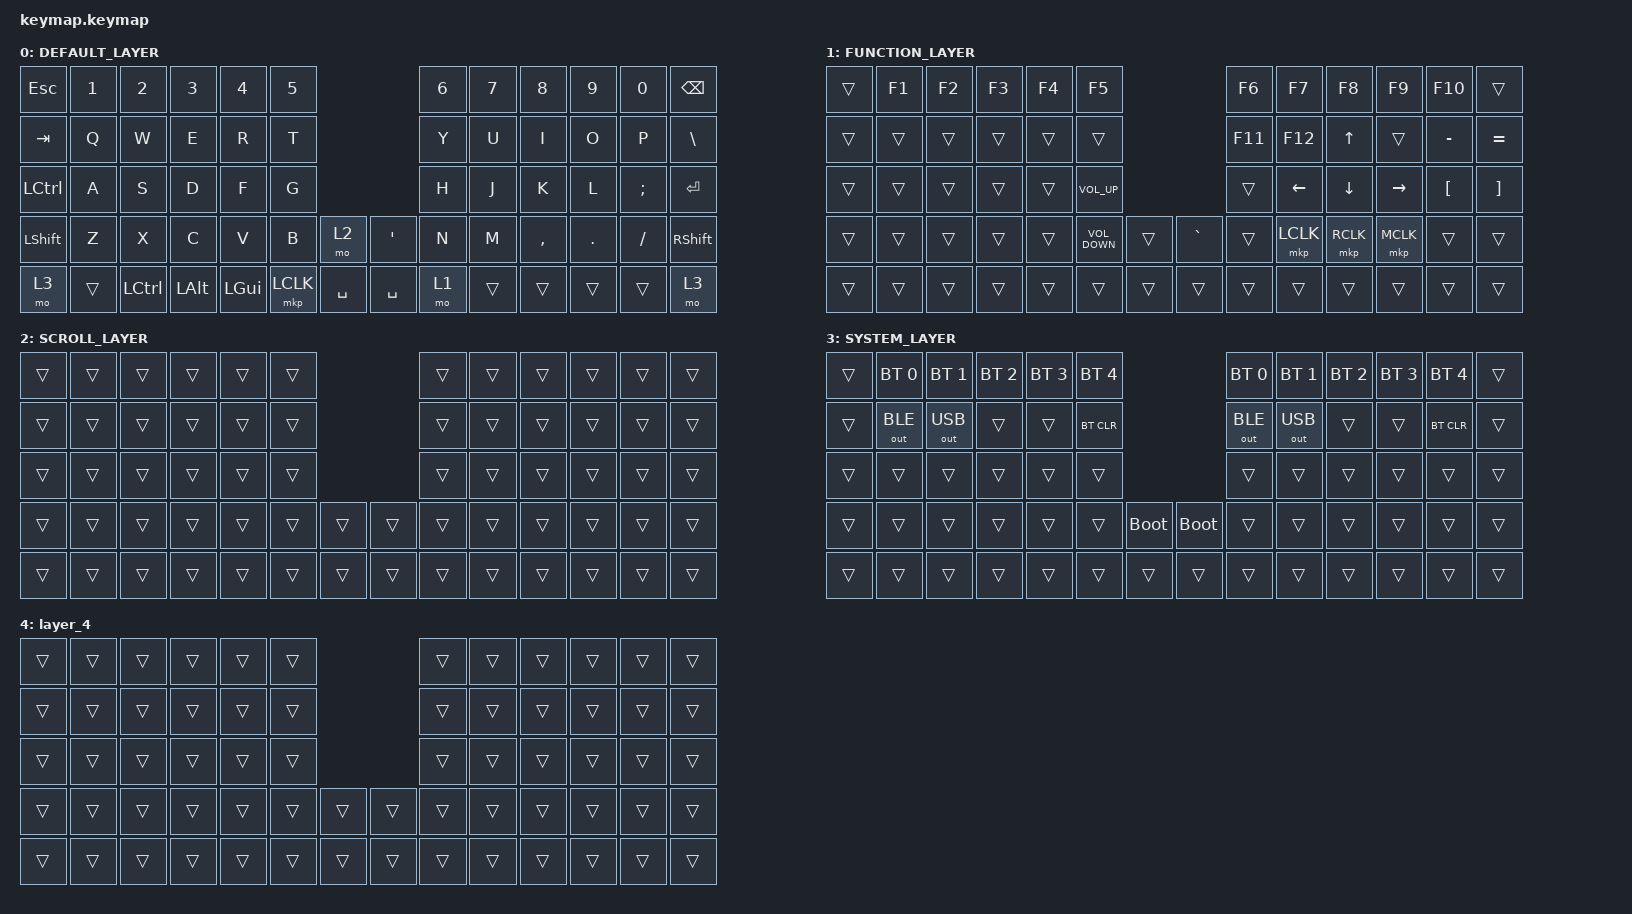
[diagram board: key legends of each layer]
#include <behaviors.dtsi>
#include <dt-bindings/zmk/bt.h>
#include <dt-bindings/zmk/keys.h>
#include <dt-bindings/zmk/outputs.h>
#include <dt-bindings/zmk/pointing.h>

/ {
    combos {
        compatible = "zmk,combos";

        mouse_prev {
            bindings = <&mkp MB4>;
            key-positions = <43 44 45>;
        };

        mouse_next {
            bindings = <&mkp MB5>;
            key-positions = <44 45 46>;
        };

        mouse_scroll {
            bindings = <&mo 2>;
            key-positions = <45 46>;
        };
    };

    keymap {
        compatible = "zmk,keymap";

        DEFAULT_LAYER {
            bindings = <
&kp ESC    &kp N1  &kp N2     &kp N3    &kp N4        &kp N5                                  &kp N6  &kp N7  &kp N8     &kp N9   &kp N0     &kp BSPC
&kp TAB    &kp Q   &kp W      &kp E     &kp R         &kp T                                   &kp Y   &kp U   &kp I      &kp O    &kp P      &kp BACKSLASH
&kp LCTRL  &kp A   &kp S      &kp D     &kp F         &kp G                                   &kp H   &kp J   &kp K      &kp L    &kp SEMI   &kp ENTER
&kp LSHFT  &kp Z   &kp X      &kp C     &kp V         &kp B      &mo 2      &kp SINGLE_QUOTE  &kp N   &kp M   &kp COMMA  &kp DOT  &kp SLASH  &kp RSHFT
&mo 3      &trans  &kp LCTRL  &kp LALT  &kp LEFT_GUI  &mkp LCLK  &kp SPACE  &kp SPACE         &mo 1   &trans  &trans     &trans   &trans     &mo 3
            >;
        };

        FUNCTION_LAYER {
            bindings = <
&trans  &kp F1  &kp F2  &kp F3  &kp F4  &kp F5                                &kp F6   &kp F7          &kp F8          &kp F9           &kp F10           &trans
&trans  &trans  &trans  &trans  &trans  &trans                                &kp F11  &kp F12         &kp UP_ARROW    &trans           &kp MINUS         &kp EQUAL
&trans  &trans  &trans  &trans  &trans  &kp C_VOLUME_UP                       &trans   &kp LEFT_ARROW  &kp DOWN_ARROW  &kp RIGHT_ARROW  &kp LEFT_BRACKET  &kp RIGHT_BRACKET
&trans  &trans  &trans  &trans  &trans  &kp C_VOLUME_DOWN  &trans  &kp GRAVE  &trans   &mkp LCLK       &mkp RCLK       &mkp MCLK        &trans            &trans
&trans  &trans  &trans  &trans  &trans  &trans             &trans  &trans     &trans   &trans          &trans          &trans           &trans            &trans
            >;
        };

        SCROLL_LAYER {
            bindings = <
&trans  &trans  &trans  &trans  &trans  &trans                  &trans  &trans  &trans  &trans  &trans  &trans
&trans  &trans  &trans  &trans  &trans  &trans                  &trans  &trans  &trans  &trans  &trans  &trans
&trans  &trans  &trans  &trans  &trans  &trans                  &trans  &trans  &trans  &trans  &trans  &trans
&trans  &trans  &trans  &trans  &trans  &trans  &trans  &trans  &trans  &trans  &trans  &trans  &trans  &trans
&trans  &trans  &trans  &trans  &trans  &trans  &trans  &trans  &trans  &trans  &trans  &trans  &trans  &trans
            >;
        };

        SYSTEM_LAYER {
            bindings = <
&trans  &bt BT_SEL 0  &bt BT_SEL 1  &bt BT_SEL 2  &bt BT_SEL 3  &bt BT_SEL 4                            &bt BT_SEL 0  &bt BT_SEL 1  &bt BT_SEL 2  &bt BT_SEL 3  &bt BT_SEL 4  &trans
&trans  &out OUT_BLE  &out OUT_USB  &trans        &trans        &bt BT_CLR                              &out OUT_BLE  &out OUT_USB  &trans        &trans        &bt BT_CLR    &trans
&trans  &trans        &trans        &trans        &trans        &trans                                  &trans        &trans        &trans        &trans        &trans        &trans
&trans  &trans        &trans        &trans        &trans        &trans        &bootloader  &bootloader  &trans        &trans        &trans        &trans        &trans        &trans
&trans  &trans        &trans        &trans        &trans        &trans        &trans       &trans       &trans        &trans        &trans        &trans        &trans        &trans
            >;
        };

        layer_4 {
            bindings = <
&trans  &trans  &trans  &trans  &trans  &trans                  &trans  &trans  &trans  &trans  &trans  &trans
&trans  &trans  &trans  &trans  &trans  &trans                  &trans  &trans  &trans  &trans  &trans  &trans
&trans  &trans  &trans  &trans  &trans  &trans                  &trans  &trans  &trans  &trans  &trans  &trans
&trans  &trans  &trans  &trans  &trans  &trans  &trans  &trans  &trans  &trans  &trans  &trans  &trans  &trans
&trans  &trans  &trans  &trans  &trans  &trans  &trans  &trans  &trans  &trans  &trans  &trans  &trans  &trans
            >;
        };
    };
};
